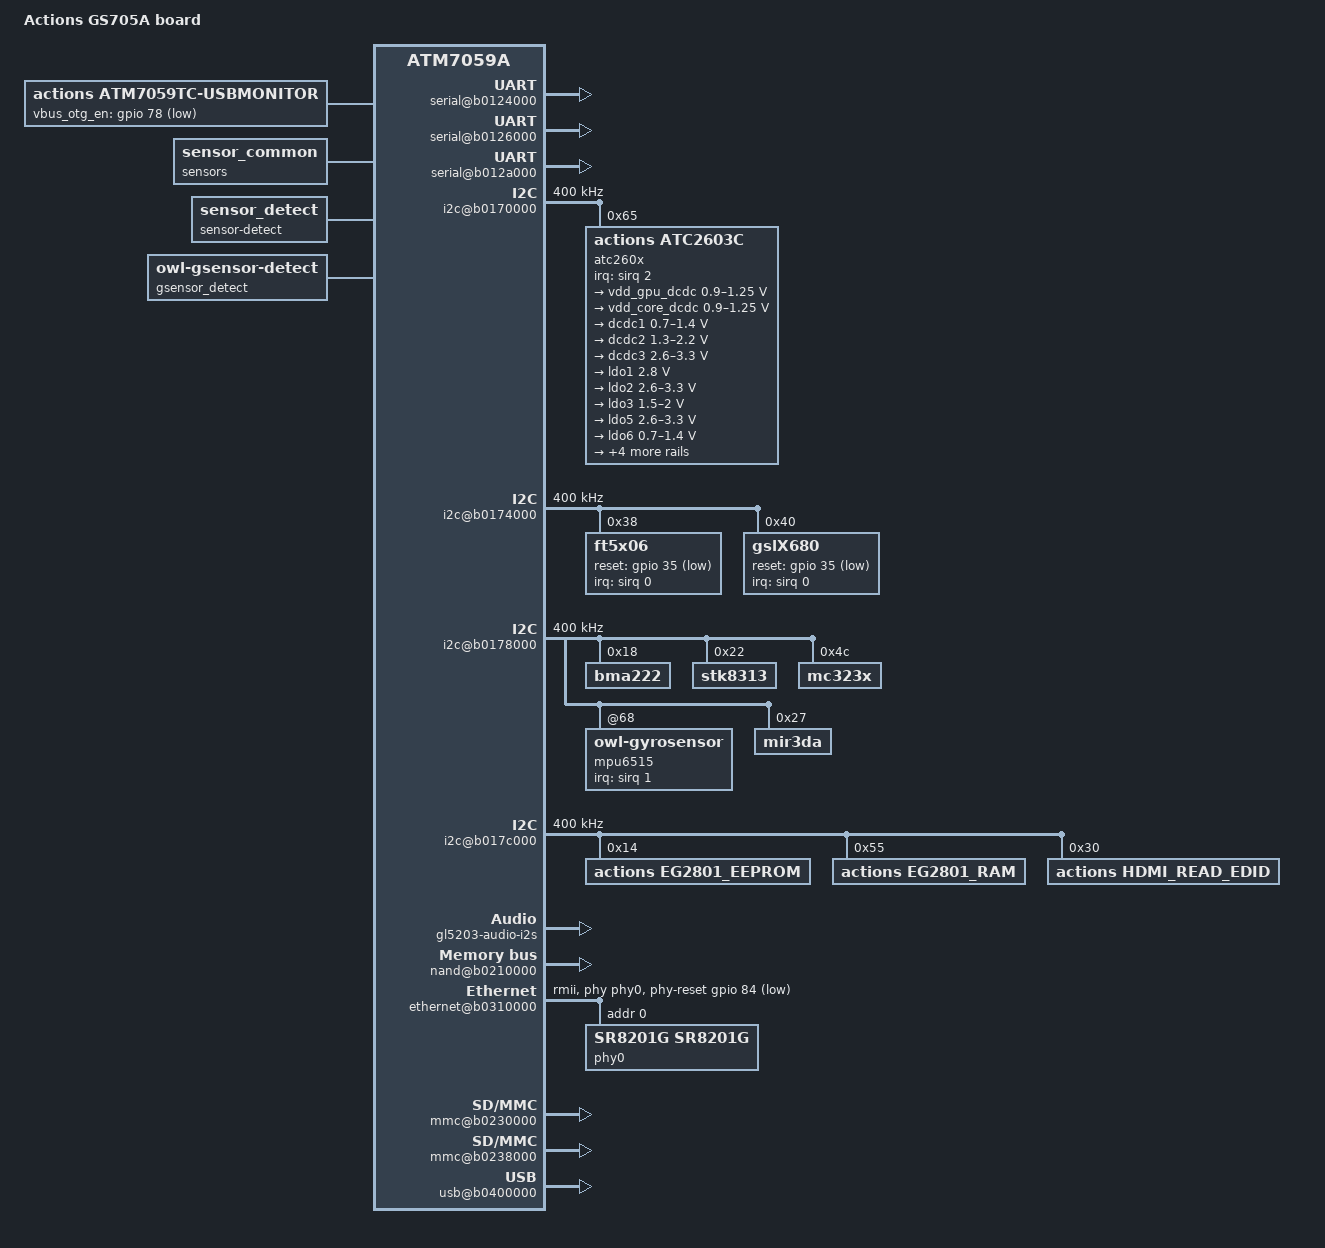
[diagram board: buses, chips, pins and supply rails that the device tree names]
/dts-v1/;

/include/ "actduino.dtsi"

/ {
	model = "Actions GS705A board";
	compatible = "actions,gs705a", "actions,atm7059a";

	/*default*/
	chosen {
		bootargs = "earlyprintk clk_ignore_unused selinux=0";
	};

	cpus {
		CPU0: cpu@0 {
			transition-latency = <61036>; /* two CLK32 periods */

			cpuvdd-supply = <&dcdc1>;
		};
	};

	reserved {
		tiny {
			fb_heap_size = <4>;
			kinfo_heap_size = <1>;
			carveout_heap_size = <40>;
			dma_heap_size = <128>;
		};
		normal {
			fb_heap_size = <8>;
			kinfo_heap_size = <1>;
			carveout_heap_size = <244>;
			dma_heap_size = <128>;
		};
	};
	dual_logo {
		value=<0x0>; /*dual_logo support,=0 disable, >0 enable; */
	};
    
	pinctrl@b01b0040 {
		pinctrl-names = "default";
		pinctrl-0 = <&state_default>;

		state_default: pinctrl_default {
		};

		serial0_state_default: serial0_default{
			serial_0{
				actions,groups = "mfp2_2_0","mfp3_21_19";
				actions,function = "uart0";
			};
		};

		serial1_state_default: serial1_default{
			serial_1{
				actions,groups = "mfp2_13_11";
				actions,function = "uart1";
			};
		};

		serial2_state_default: serial2_default{
			serial_2{
				actions,groups = "mfp2_23","mfp2_22","uart2_dummy";
				actions,function = "uart2";
			};
		};

		serial3_state_default: serial3_default{
			serial_3{
				actions,groups = "mfp2_21","mfp2_20","uart3_dummy";
				actions,function = "uart3";
			};
		};

		serial4_state_default: serial4_default{
			serial_4{
				actions,groups = "uart4_dummy";
				actions,function = "uart4";
			};
		};

		serial5_state_default: serial5_default{
			serial_5{
				actions,groups = "mfp2_19_17","mfp2_16_14";
				actions,function = "uart5";
			};
		};

		serial6_state_default: serial6_default{
			serial_6{
				actions,groups = "mfp0_18_16_eth_txd0", "mfp0_18_16_eth_txd1";
				actions,function = "uart6";
			};
		};

		nand_state_default: nand_default {
			nand_mfp {
				/*DNAND, D0-D7&RDB&RDBN:mfp3_3, ALE&CLE&CEB0&CEB1:mfp3_2, CEB2:mfp3_1_0_nand_ceb2, CEB3:mfp3_1_0_nand_ceb3*/
				actions,groups = "nand_dummy", "mfp3_3", "mfp3_2", "mfp3_1_0_nand_ceb2", "mfp3_1_0_nand_ceb3";
				actions,function = "nand";
			};

			nand_rdbn_ce0_ce2_pullup_disable {
				actions,pins = "P_DNAND_RDBN";
				actions,pull = <0>;	//disabled
			};

			nand_dqsn_pullup {
				actions,pins = "P_DNAND_DQSN";
				actions,pull = <2>;	//pull up
			};
			
			nand_dqs_pulldown {
				actions,pins = "P_DNAND_DQS";
				actions,pull = <1>;	//pull down
			};
			nand_d0_d3_pulldown {
				actions,pins = "P_DNAND_D0","P_DNAND_D1","P_DNAND_D2","P_DNAND_D3","P_DNAND_D4","P_DNAND_D5","P_DNAND_D6","P_DNAND_D7";
				actions,pull = <0>;	//disabled
			};
		};

		ethernet_state_default: ethernet_default {
			ethernet_smi { /* pins: MDC & MDIO */
				actions,groups = "eth_smi_dummy";
				actions,function = "eth_rmii";
			};

			ethernet_rmii_txd01 {
				actions,groups = "mfp0_18_16_eth_txd0", "mfp0_18_16_eth_txd1";
				actions,function = "eth_rmii";
			};

			ethernet_rmii_txen_rxer {
				actions,groups = "mfp0_15_13_rmii_txen", "mfp0_15_13_rmii_rxen";
				actions,function = "eth_rmii";
			};

			ethernet_rmii_crs_dv {
				actions,groups = "mfp0_22_20";
				actions,function = "eth_rmii";
			};

			ethernet_rmii_rxd10 {
				actions,groups = "mfp0_10_8_rmii_rxd1", "mfp0_10_8_rmii_rxd0";
				actions,function = "eth_rmii";
			};

			ethernet_rmii_ref_clk {
				actions,groups = "mfp0_7_6";
				actions,function = "eth_rmii";
			};
		};

		mmc_share_uart_state: mmc_share_uart {
			sd0_mfp_cmd_clk {
				actions,groups = "mfp2_8_7", "mfp2_6_5";
				actions,function = "sd0";
			};

			sd0_pull_d0_d3_cmd {
				actions,pins = "P_SD0_CMD";
				actions,pull = <2>;
			};	
			
			sd0_pull_clk {
				actions,pins = "P_SD0_CLK";
				actions,pull = <0>;
			};
			
			sd0_d0_d3_cmd_clk_paddrv  {
				actions,groups  = "paddrv1_19_18","paddrv1_17_16";
				actions,paddrv  = <1>; /*level 1，范围0~3*/ 			
			};
			
			// 如果以后使用uart2请修改这个地方到uart2配置，现在默认是uart5
			serial_5 {
				actions,groups = "mfp2_19_17","mfp2_16_14";
				actions,function = "uart5";   
			};
		};
		
		mmc0_state_default: mmc0_default {
			sd0_mfp_d0_d3_cmd_clk {
				actions,groups = "mfp2_19_17", "mfp2_16_14", "mfp2_13_11", "mfp2_8_7", "mfp2_6_5";
				actions,function = "sd0";
			};

			sd0_pull_d0_d3_cmd {
				actions,pins = "P_SD0_D0", "P_SD0_D1", "P_SD0_D2", "P_SD0_D3", "P_SD0_CMD";
				actions,pull = <2>;
			};

			sd0_pull_clk {
				actions,pins = "P_SD0_CLK";
				actions,pull = <0>;
			};
			
			sd0_d0_d3_cmd_clk_paddrv  {
				actions,groups  = "paddrv1_23_22","paddrv1_19_18","paddrv1_17_16";
				actions,paddrv  = <3>; /*level 1，范围0~3*/ 			
			};
		};

		mmc1_state_default: mmc1_default {
			sd1_mfp_d0_d3_cmd_clk {
				actions,groups = "mfp2_10_9", "mfp2_4_3", "sd1_dummy";
				actions,function = "sd1";
			};

			sd1_pull_d0_d3_cmd {
				actions,pins = "P_SD1_D0", "P_SD1_D1", "P_SD1_D2", "P_SD1_D3", "P_SD1_CMD";
				actions,pull = <2>;
			};
			sd1_d0_d3_cmd_clk_paddrv  {
				actions,groups  = "paddrv1_21_20","paddrv1_15_14","paddrv1_13_12";
				actions,paddrv  = <2>; /*level 1，范围0~2*/ 			
			};
		};
	
		mmc2_state_default: mmc2_default {
			sd2_mfp_d0_d3_cmd_clk {
				actions,groups = "mfp3_3";
				actions,function = "sd2";
			};

			sd2_pull_d0_d3_cmd {
				actions,pins = "P_DNAND_D0","P_DNAND_D1","P_DNAND_D2","P_DNAND_D3","P_DNAND_D4","P_DNAND_D5","P_DNAND_D6","P_DNAND_D7","P_DNAND_RDBN";
				actions,pull = <2>;
			};

		};

		/* the format of isp state name: channel + pin + bus type(pin function) */
		/* channel: isp0/isp1, pin: csi/bt/sens1, bus type: dvp/mipi */
		isp0_state_csi_dvp: isp0_csi_dvp {
			isp0_csi_dvp_mfp {
				actions,groups = "mfp3_29_28", "mfp3_23_22", "mfp3_15_14", "mfp3_13_12";
				actions,function = "sens0";
			};
			sens0_clk_out_pdrv{
				 actions,groups = "paddrv2_13_12";
				 actions,paddrv = <0>;/*level 1 ,range :0~2*/
			};
		};

		isp0_state_csi_mipi: isp0_csi_mipi {
			isp0_csi_mipi_mfp {
				actions,groups = "mfp3_29_28", "mfp3_15_14";
				actions,function = "mipi_csi";
			};
			isp0_csi_mipi_clkout_mfp {
				actions,groups = "mfp3_23_22";
				actions,function = "sens0";
			};
		};

		i2c0_state_default: i2c0_default {/* i2c0 use default pin	*/
			i2c0_default_mfp {
				actions,groups = "mfp3_18_16";
				actions,function = "i2c0";
			};

			i2c0_default_paddrv {
				actions,groups = "paddrv2_24_23";
				actions,paddrv = <0>;/*level 1*/
			};

			i2c0_default_pull_up {
				actions,pins = "P_I2C0_SCLK","P_I2C0_SDATA";
				actions,pull = <2>; /*pull up*/
			};
		};

		i2c0_state_over_uart0: i2c0_over_uart0 {/* i2c0 use uart0 pin	*/
			i2c0_over_uart0_mfp {
				actions,groups = "mfp2_2_0", "mfp3_21_19";
				actions,function = "i2c0";
			};

			i2c0_over_uart0_paddrv {
				actions,groups = "paddrv2_31_30","paddrv2_29_28";
				actions,paddrv = <0>;/*level 1*/
			};

			i2c0_over_uart0_pull_up {
				actions,pins = "P_UART0_RX","P_UART0_TX";
				actions,pull = <2>; /*pull up*/
			};
		};	

		i2c1_state_default: i2c1_default {/* i2c1 use default pin	*/
			i2c1_default_mfp {
				actions,groups = "i2c1_dummy";
				actions,function = "i2c1";
			};

			i2c1_default_paddrv {
				actions,groups = "paddrv2_22_21";
				actions,paddrv = <0>;/*level 1*/
			};

			i2c1_default_pull_up {
				actions,pins = "P_I2C1_SCLK","P_I2C1_SDATA";
				actions,pull = <0>;	/*stay disabled*/
			};
		};

		i2c2_state_default: i2c2_default {/* i2c2 use default pin*/
			i2c2_default_mfp {
				actions,groups = "i2c2_dummy";
				actions,function = "i2c2";
			};

			i2c2_default_paddrv {
				actions,groups = "paddrv2_22_21";
				actions,paddrv = <0>;/*level 1*/
			};

			i2c2_default_pull_up {
				actions,pins = "P_I2C2_SCLK","P_I2C2_SDATA";
				actions,pull = <2>; /*pull up*/
			};
		};
		
		i2c3_state_over_spi0: i2c3_over_spi0 {/* i2c3 use spi0 pin	*/
			i2c3_over_spi0_mfp {
				actions,groups = "mfp1_4_3";
				actions,function = "i2c3";
			};

			i2c3_over_spi0_paddrv {
				actions,groups = "paddrv1_11_10";
				actions,paddrv = <0>;/*level 1*/
			};

			i2c3_over_spi0_pull_up {
				actions,pins = "P_SPI0_SCLK","P_SPI0_MOSI";
				actions,pull = <2>; /*pull up*/
			};
		};				

		pwm0_state_default: pwm0_default {
			pwm0_mfp {
				actions,groups = "mfp1_31_29_ks_in2";
				actions,function = "pwm0";
			};
		};

		pwm1_state_default: pwm1_default {
			pwm1_mfp {
				actions,groups = "mfp1_28_26_ks_in3";
				actions,function = "pwm1";
			};
		};
		pwm2_state_default: pwm2_default {
			pwm2_mfp {
				actions,groups = "mfp1_25_23";
				actions,function = "pwm2";
			};
		};
		pwm3_state_default: pwm3_default {
			pwm3_mfp {
				actions,groups = "mfp1_28_26_ks_out1";
				actions,function = "pwm3";
			};
		};
		lvds_state_default: lvds_default {
			lvds_mux {
				actions,groups = "mfp1_22_21", "mfp1_6_5", "mfp2_28_27";
				actions,function = "lvds";
			};
		};
		i2s0_state_default: i2s0_default {
			i2s0_default_mfp {
				actions,groups = "mfp0_2_1_i2s0", "mfp0_4_3", "mfp0_5";
				actions,function = "i2s0";
			};
		};
		rgb_state_default: rgb_default {
			rgb_mux {
				actions,groups = "mfp0_25_23","mfp1_16_14", "mfp1_22_21", "mfp1_13_12", "mfp1_11_10", "mfp1_6_5", "mfp2_30_29", "mfp2_28_27";
				actions,function = "lcd0";
			};
		};
		
		dsi_state_default: dsi_default {
			dsi_mux {
				actions,groups = "mfp1_20_19", "mfp1_18_17", "mfp1_13_12", "mfp1_11_10", "mfp1_9_7", "mfp2_30_29";
				actions,function = "dsi";
			};
		};
	};

	serial@b0120000 {
		clock-frequency = <48000000>;
		pinctrl-names = "default";
		pinctrl-0 = <&serial0_state_default>;
//		actions,enable-dma-rx;
		status = "disabled";
	};

	serial@b0122000 {
		clock-frequency = <48000000>;
		pinctrl-names = "default";
		pinctrl-0 = <&serial1_state_default>;
//		actions,enable-dma-rx;
		status = "disabled";
	};

	serial@b0124000 {
		clock-frequency = <48000000>;
		pinctrl-names = "default";
		pinctrl-0 = <&serial2_state_default>;
//		actions,enable-dma-rx;
		status = "okay";
	};

	/*for BT*/
	serial@b0126000 {
		clock-frequency = <48000000>;
		pinctrl-names = "default";
		pinctrl-0 = <&serial3_state_default>;
		actions,enable-dma-rx;
		status = "okay";
	};

	serial@b0128000 {
		clock-frequency = <48000000>;
		pinctrl-names = "default";
		pinctrl-0 = <&serial4_state_default>;
//		actions,enable-dma-rx;
		status = "disabled";
	};

	serial@b012a000 {
		clock-frequency = <48000000>;
		pinctrl-names = "default";
		pinctrl-0 = <&serial5_state_default>;
//		actions,enable-dma-rx;
		status = "okay";
		sdio_uart_supported;
	};

	serial@b012c000 {
		clock-frequency = <48000000>;
		pinctrl-names = "default";
		pinctrl-0 = <&serial6_state_default>;
//		actions,enable-dma-rx;
		status = "disabled";
	};

	i2c@b0170000 {
		i2c_num = <0>;
		clock-frequency = <400000>;
		status = "okay";
		pinctrl-names = "default";
		pinctrl-0 = <&i2c0_state_default>;
		#address-cells = <1>;
		#size-cells = <0>;	
		
		/* atc2603c (5307) */
		atc260x: atc2603c@65 {
			compatible = "actions,atc2603c";
			reg = <0x65>;
			interrupt-parent = <&sirq>;
			interrupts =< 2 0x4 >;
			interrupt-controller;
			#interrupt-cells = <1>;

			losc_32k_output_enable = <1>;    /* enable/disable output 32.768K clock via I2S_MCLK1 pin */
			losc_32k_output_voltage = <18>;  /* select voltage scale of the 32.768K clock output, 18:1.8v, 31:3.1v */

			pm {
				compatible = "actions,atc2603c-pm";
			};

			onoff {
				compatible = "actions,atc2603c-onoff";
			};

			rtc{
				compatible = "actions,atc2603c-rtc";
			};

			atc260x_gpio: atc260x_gpio {
				compatible = "actions,atc2603c-gpio";
				gpio-controller;
				#gpio-cells = <2>;
			};

			atc260x_sgpio: atc260x_sgpio {
				compatible = "actions,atc2603c-sgpio";
				gpio-controller;
				#gpio-cells = <2>;
				interrupt-controller;
				#interrupt-cells = <2>;
			};

			atc260x-adckeypad{
#define KEY_HOME				172
#define KEY_MENU				139
#define KEY_BACK				158
#define KEY_VOLUMEDOWN				114
#define KEY_VOLUMEUP				115
				keymapsize = <5>;                   /* number of ADC key */
				filter_dep = <3>;                   /* depth of the moving average filter (length of filter queue) */
				variance = <10>;                    /* filter will not output until the difference between every two ADC samples in the filter queue goes below this value */
				poll_interval =  <10>;              /* sample period, in ms */
				left_adc_val =  <0 90 175 270 400>;     /* for key code translator, each value defines a lower bound of ADC value of a key */
				right_adc_val = <30 120 220 320 450>;   /* for key code translator, each value defines a upper bound of ADC value of a key */
				key_val = <KEY_HOME KEY_MENU KEY_VOLUMEUP KEY_VOLUMEDOWN KEY_BACK>; /* for key code translator, each value defines the key_code of a key */
				adc_channel_name = "AUX0";          /* the ADC channel used for sampling, valid names are REMCON AUX0 AUX1 AUX2 (AUX3) */
				compatible = "actions,atc2603c-adckeypad";
				status = "okay";                /* enable/disable ADC key function (okay or disabled) */
			};
			atc260x-irkeypad{
				size = <28>;
				user_code = <16448>;
				protocol = <1>;
				wk_code= <77>;
				period = <140>;
				ir_code = <77 67 21 28 11 14 16 17 13 26 69 66 12 1 2 3 4 5 6 7 8 9 0 68 83 18 30 31>;
				key_code = <116 113 115 114 103 108 105 106 353 172 139 158 14 2 3 4 5 6 7 8 9 10 11 175 139 52 165 163>;
				compatible = "actions,atc2603c-irkeypad";
			};

			/*the cfg params must be read	in the first installed ko,
			 now snd-soc-atv5302.ko is first installed.
			 1, earphone_detect_level use the third value of earphone_gpios
			 2, commonly, we shouldn't change the value of speaker_gain and earphone_gain*/
			
			atc260x-audio{
				compatible = "actions,atc2603c-audio";
				status = "okay";
                                pinctrl-names = "default";
                                pinctrl-0 = <&i2s0_state_default>;				
				//earphone_detect_gpios = <&gpio 21 0>; /*0: high, 1: low hr280ac GPIOA21 0*/
				speaker_en_gpios = <&gpio 126 0>; /*hr280ac GPIOD(30) 0: high, 1: low*/
				earphone_output_mode = <0>; /*0: direct mode, 1: undirect mode*/
				mic_num = <1>; /*just suport 1, 2*/
				mic0_gain = < 0x7 0x7 >; /*<Lchannel,Rchannel> [0x0~0xF]*/
				speaker_gain = < 0xaa 0xaa >; /*<Lchannel,Rchannel>[0x00~0xbebe]*/
				earphone_gain = < 0xbe 0xbe >; /*<Lchannel,Rchannel>[0x00~0xbebe]*/
				mic_mode = <2>; /* 1: differential,  2: single end*/
				earphone_detect_method = <2>; /*0:gpio, 1:irq, 2:adc*/				
				adc_plugin_threshold = <900>; /*adc earphone detect plugin threshold value*/		
				adc_level = <1>; /*adc plugin level, 1:high vol when plugin; 0:low vol when plug in*/
			};

			atc260x-hwmon{
				compatible = "actions,atc2603c-hwmon";
			};

			atc260x-power{
				compatible = "actions,atc2603c-power";
				bl_on_usb_pc_max_charge_current = < 200 >;        /*mA,plug usb-pc,backlight is on*/
				bl_off_usb_pc_max_charge_current = < 500 >;       /*mA,plug usb-pc,backlight is off*/
				bl_on_usb_adp_max_charge_current = <400>;         /*mA,plug usb-adapter,backlight is on */
				bl_off_usb_adp_max_charge_current = <800>;        /*mA,plug usb-adapter,backlight is off */
				bl_on_wall_adp_max_charge_current = <400>;        /*mA,plug DCIN adapter,backlight is on*/
				bl_off_wall_adp_max_charge_current = < 1400 >;    /*mA,plug DCIN adapter,backlight is off*/
				bl_on_voltage_diff  = <350>;                      /*mV,different voltage between SYSPOWR and battery,backlight is on*/
				bl_off_voltage_diff = <400>;                      /*mV,different voltage between SYSPOWR and battery,backlight is off*/
				support_adaptor_type = <3>;                       /*1: DCIN  2: USB  3:DCIN+USB*/
				boot_cap_threshold = <3>;                         /*3%,the lowest capacity permitted to boot*/ 
				ext_dcdc_exist = <0>;                             /*1:exist external dcdc  0:do not exist external dcdc*/
				pwms = <&pwm 3 2666 1>;                           /* 3--pwm3   2666ns--1/(24M/64)*1000000000-1   1- -active low*/
				pwm-names = "ext_dcdc_pwm_ctl";                   /* pwm name */
				ext_charger_exist = <0>;                          /* 1:exist external charger  0:do not exist external charger*/
				charger_led_exist = <0>;                          /* 1:exist charger led 0:do not exist charger led */
			};

			atc260x-cap-gauge{
				compatible = "actions,atc2603c-cap-gauge";
				capacity = < 2500 >;                              /*mAh, the full capacity of battery used*/
				icm_available= < 1 >;							  /* 1:available 0:not available */ 
				icm_ohm_val = < 20 >;                             /*mohm,just 20 or 10,for ICM detecting current*/
				taper_voltage = < 4200 >;                         /*mV,the one close to the full capacity*/
				taper_current = <300>; 
				min_over_chg_protect_voltage = < 4275 >;				/*mA,the one close to the full capacity*/
				terminal_voltage = <3450>;                        /*mV,the lowest voltage of battery permitted*/
				suspend_current = < 7730 >;                       /* uA,the current of suspend*/
				shutdown_current = < 50 >;                        /* uA,the current of shutdown*/
				print_switch = <0>;                               /*0:open the switch of printing information 1:the opposite*/
				log_switch = <0>;                                 /*0:open the switch of recording charging log 1:the opposite*/
				
				ocv_soc_00 = <3477 3534 3591 3624 3637 3649 3661 3667 3673 3677>;    	 /* capacity:from 1% to 10%*/
				ocv_soc_10 = <3682 3685 3690 3693 3700 3706 3712 3716 3722 3728 >;	 /* capacity:from 11% to 20%*/
				ocv_soc_20 = <3732 3736 3739 3744 3747 3751 3755 3758 3761 3765>;	 /* capacity:from 21% to 30%*/
				ocv_soc_30 = <3768 3771 3775 3777 3782 3784 3788 3791 3793 3794 >;	 /* capacity:from 31% to 40%*/
				ocv_soc_40 = <3800 3801 3804 3807 3812 3815 3819 3823 3825 3830>;	 /* capacity:from 41% to 50%*/
				ocv_soc_50 = <3834 3838 3841 3845 3850 3854 3858 3864 3870 3874>;	 /* capacity:from 51% to 60%*/
				ocv_soc_60 = <3880 3889 3895 3902 3908 3916 3926 3933 3940 3947>;	 /* capacity:from 61% to 70%*/
				ocv_soc_70 = <3954 3961 3968 3972 3979 3985 3992 3997 4005 4012>;	 /* capacity:from 71% to 80%*/
				ocv_soc_80 = <4019 4028 4036 4046 4054 4061 4068 4075 4084 4090>;	 /* capacity:from 81% to 90%*/
				ocv_soc_90 = <4099 4107 4115 4126 4132 4141 4152 4160 4170 4180>;	 /* capacity:from 91% to 100%*/
				
			};

			atc260x-backup{
				compatible = "actions,atc2603c-backup";
				status = "disabled";
			};
 
			vdd_gpu_dcdc: vdd-gpu-dcdc {
				compatible = "actions,atc2603c-ext-pwm-dcdc1","actions,atc2603c-ext-pwm-dcdc";
				regulator-name = "vdd-gpu-dcdc";
				regulator-min-microvolt  = <900000>;
				regulator-max-microvolt = <1250000>;
				regulator-always-on;
				pwms = <&pwm 1 2666 0>;	// 1-pwm1   2666-1/(24M/64)*1000000-1   0 -active high
				table_len = < 15 >;			//length of vdd_cpu_table & pwm_config_table
				vdd_cpu_table = <900000 925000 950000 975000 1000000 1025000 1050000 1075000 1100000 1125000 1150000 1175000 1200000 1225000 1250000>;	//uV
				pwm_config_table = <19 18 17 16 15 14 13 12 11 10 9 8 7 6 5>;	//the pwm period of 1.1v 1.2v 1.3v
			};
 
			vdd_core_dcdc: vdd-core-dcdc {
				compatible = "actions,atc2603c-ext-pwm-dcdc2","actions,atc2603c-ext-pwm-dcdc";
				regulator-name = "vdd-core-dcdc";
				regulator-min-microvolt  = <900000>;
				regulator-max-microvolt = <1250000>;
				regulator-always-on;
				pwms = <&pwm 2 2666 0>;	// 1-pwm1   2666-1/(24M/64)*1000000-1   0 -active high
				table_len = < 15 >;			//length of vdd_cpu_table & pwm_config_table
				vdd_cpu_table = <900000 925000 950000 975000 1000000 1025000 1050000 1075000 1100000 1125000 1150000 1175000 1200000 1225000 1250001>;	//uV
				pwm_config_table = <19 18 17 16 15 14 13 12 11 10 9 8 7 6 5>;	//the pwm period of 1.1v 1.2v 1.3v
			};
 
			dcdc1: dcdc1 {
				compatible = "actions,atc2603c-dcdc1","actions,atc2603c-dcdc";
				regulator-name = "dcdc1";
				regulator-min-microvolt = <700000>;
				regulator-max-microvolt = <1400000>;
				regulator-always-on;
			};

			dcdc2: dcdc2 {
				compatible = "actions,atc2603c-dcdc2","actions,atc2603c-dcdc";
				regulator-name = "dcdc2";
				regulator-min-microvolt = <1300000>;
				regulator-max-microvolt = <2200000>;
				regulator-always-on;
			};

			dcdc3: dcdc3 {
				compatible = "actions,atc2603c-dcdc3","actions,atc2603c-dcdc";
				regulator-name = "dcdc3";
				regulator-min-microvolt = <2600000>;
				regulator-max-microvolt = <3300000>;
				regulator-always-on;
			};

			dcdc4: dcdc4 {
				status = "disabled";
			};

			dcdc5: dcdc5 {
				status = "disabled";
			};

			ldo1: ldo1{
				compatible = "actions,atc2603c-ldo1","actions,atc2603c-ldo";
				regulator-name = "ldo1";
				regulator-min-microvolt  = <2800000>;
				regulator-max-microvolt = <2800000>;
				regulator-always-on;
			};

			ldo2: ldo2{
				compatible = "actions,atc2603c-ldo2","actions,atc2603c-ldo";
				regulator-name = "ldo2";
				regulator-min-microvolt  = <2600000>;
				regulator-max-microvolt = <3300000>;
				regulator-always-on;
			};

			ldo3: ldo3{
				compatible = "actions,atc2603c-ldo3","actions,atc2603c-ldo";
				regulator-name = "ldo3";
				regulator-min-microvolt  = <1500000>;
				regulator-max-microvolt = <2000000>;
				regulator-always-on;
			};

			ldo4: ldo4{
				status = "disabled";
			};

			ldo5: ldo5{
				compatible = "actions,atc2603c-ldo5","actions,atc2603c-ldo";
				regulator-name = "ldo5";
				regulator-min-microvolt  = <2600000>;
				regulator-max-microvolt = <3300000>;
			};

			ldo6: ldo6{
				compatible = "actions,atc2603c-ldo6","actions,atc2603c-ldo";
				regulator-name = "ldo6";
				regulator-min-microvolt  = <700000>;
				regulator-max-microvolt = <1400000>;
				regulator-always-on;
			};

			ldo7: ldo7{
				compatible = "actions,atc2603c-ldo7","actions,atc2603c-ldo";
				regulator-name = "ldo7";
				regulator-min-microvolt  = <1800000>;
				regulator-max-microvolt = <1800000>;
				regulator-always-on;
				regulator-suspend-off;
			};

			ldo8: ldo8{
				compatible = "actions,atc2603c-ldo8","actions,atc2603c-ldo";
				regulator-name = "ldo8";
				regulator-min-microvolt  = <2300000>;
				regulator-max-microvolt = <3300000>;
			};

			ldo9: ldo9{
				status = "disabled";
			};

			ldo10: ldo10{
				status = "disabled";
			};

			ldo11: ldo11{
				compatible = "actions,atc2603c-ldo11","actions,atc2603c-ldo";
				regulator-name = "ldo11";
				regulator-min-microvolt  = <2600000>;
				regulator-max-microvolt = <3300000>;
				regulator-always-on;
			};

			switch1:switch1{
				compatible = "actions,atc2603c-switch1","actions,atc2603c-switch";
				regulator-name = "switch1";
				regulator-min-microvolt  = <3000000>;
				regulator-max-microvolt = <3300000>;
			};

			switch2:switch2{
				status = "disabled";
			};
		};
	};
	
	i2c@b0174000 {
		i2c_num = <1>;
		clock-frequency = <400000>;
		status = "okay";
		pinctrl-names = "default";
		pinctrl-0 = <&i2c1_state_default>;
			
		ft5x06@38 {
			compatible = "ft5x06";
			reg = <0x38>;
			tp_vcc = "ldo5";
			reset_gpios = <&gpio 35 1>; /*GPIOB(3) 0: high, 1: low*/
			max_points = <10>;
			x_pixel = <1280>;
			y_pixel = <800>;
			x_revert_en = <0>;
			y_revert_en = <0>;
			xy_swap_en = <0>;
			rotate_degree = <180>;  /* 0 90 180 270 */
    	interrupt-parent = <&sirq>;
    	interrupts =< 0 0x4 >; /*SIRQ0*/
			vol_range = <3100000 3110000>;
		};

		gslX680@40 {
			compatible = "gslX680";
			reg = <0x40>;
			tp_vcc = "ldo5";
			reset_gpios = <&gpio 35 1>;/*GPIOB(3) 0: high, 1: low*/
			x_pixel = <1024>;
			y_pixel = <600>;
			x_revert_en = <0>;
			y_revert_en = <0>;
			xy_swap_en = <0>;
			rotate_degree = <270>;  /* 0 90 180 270 */
    	interrupt-parent = <&sirq>;
    	interrupts =< 0 0x4 >; /*SIRQ0*/
			vol_range = <3100000 3110000>;
		};
	};

	i2c@b0178000 {
		i2c_num = <2>;
		clock-frequency = <400000>;
		status = "okay";
		pinctrl-names = "default";
		pinctrl-0 = <&i2c2_state_default>;

		bma222@18{
			compatible = "bma222";
			reg = <0x18>;
			position = "-2";
			calibration_table = <0 0 0>;
		};

		stk8313@22{		
			compatible = "stk8313";
			reg = <0x22>;
			position = "1";
			calibration_table = <0 0 0>;			
		};

		mc323x@4c{		
			compatible = "mc323x";
			reg = <0x4c>;
			position = "-3";
			calibration_table = <0 0 0>;			
		};

		mpu6515@68{
			compatible = "owl-gyrosensor";
			interrupt-parent = <&sirq>;
			interrupts =< 1 0x4 >; /*SIRQ1*/
			i2c_adapter_id = <2>;
			MASTER_inv6515_position = "-1";
			SECONDARY_ak8963c_position = "-2";
		};
		
		mir3da@27{
			compatible = "mir3da";
			reg = <0x27>;
			position = "-3";
			calibration_table = <0 0 0>;
		};
	};

	i2c@b017c000 {
		i2c_num = <3>;
		clock-frequency = <400000>;
		status = "okay";
		pinctrl-names = "default";
		pinctrl-0 = <&i2c3_state_over_spi0>;
		eg2801_eeprom@14 {
                	compatible ="actions,eg2801_eeprom";
			reg = <0x14>;
                };

                eg2801_ram@55 {
                	compatible ="actions,eg2801_ram";
                	reg = <0x55>;
                };
		
		hdmi_read_edid@30 {
			compatible = "actions,hdmi_read_edid";
			reg = <0x30>;
		};	
	};

	spi@b0200000 {
		status = "disabled";
	};

	spi@b0204000 {
		status = "disabled";
	};
	
	gl5203-audio-i2s{
		#address-cells = <1>;
		#size-cells = <1>; 
		compatible = "actions,owl-audio-i2s";
		reg = <0xb0100000 0x34>;
	};

	spi@b0208000 {
		status = "disabled";
	};

	spi@b020c000 {
		status = "disabled";
	};

	gpio@b01b0000 {
		status = "okay";
	};

	nand@b0210000 {
		clock-source = "NANDPLL";
		pinctrl-names = "default";
		pinctrl-0 = <&nand_state_default>;
		status = "okay";

		reset_protect {
			interrupt-parent = <&sirq>;
			interrupts =< 0 0x4 >; /*SIRQ0*/
			status = "disabled";
		};
	};

	ethernet@b0310000 {
		pinctrl-names = "default";
		pinctrl-0 = <&ethernet_state_default>;

		phy-mode = "rmii";
		phy-handle = <&phy0>;
		phy-power-gpios = <&gpio 85 0>; /* GPIOC21 active  1:low  0:high*/		
		phy-reset-gpios = <&gpio 84 0>; /* GPIOC20 active  1:low  0:high*/

		phy_addr = <1>;
		address-bits = <48>;
		//random-mac-address = "okay";		/*okay:     disable:*/
		//local-mac-address = [ 00 18 fe 66 66 66 ];   /* if random address is enable,the local address will be unuseful*/
		max-frame-size = <1518>;

		status = "okay";
		compatible = "actions,owl-ethernet";
		
		phy0: ethernet-phy@0 {
			compatible = "SR8201G,sr8201g";
			reg = <0>;
		};
	};

	mmc@b0230000 {
		pinctrl-names = "default","share_uart2_5";
		pinctrl-0 = <&mmc0_state_default>;
		pinctrl-1 = <&mmc_share_uart_state>;

		card_type = "memory";  /* only: "memory", "wifi", or "emmc" */
		card_detect_mode = "gpio";  /* only: "sirq", "gpio", or "command" */
		card_detect_gpios = <&gpio 117 0>; /*86v S500 GPIOD21 */  
		interrupts = < 0 42 0x4 >;

		status = "okay";

		sd_vcc = "switch1";
		sdio_uart_supported;
	};

	mmc@b0234000 {
		pinctrl-names = "default";
		pinctrl-0 = <&mmc1_state_default>;

		card_type = "wifi";  /* only: "memory", "wifi", or "emmc" */

//		status = "okay";
		status = "disabled";
	};

	mmc@b0238000 {
		pinctrl-names = "default";
		pinctrl-0 = <&mmc2_state_default>;
		card_type = "emmc";  /* only: "memory", "wifi", or "emmc" */
		status = "okay";
//		status = "disabled";
	};

	usb@b02b8000 {
		vbus-src = "gpio";  /* only: "gpio", "regulator", or "none" */

		//gpios = <&gpio 23 0>; /* GPIOA19, 0: high, 1: low only when vbus-src is "gpio" */ /*M3305 Not use*/

		vbus-regulator = "LDO1"; /* only when vbus-src is "regulator" */
		regulator-scope = <3300000 3500000>;  /* uV */

		status = "disabled"; /* don't create platform-device */
	};

	usb@b0400000 {
		usb_serialnumber_config = <1>; /* config serialnumber string format, 0: unified ascii; 1:unified unicode; 2:nounified unicode; 3: nounified ascii*/
		usb_hs_output_strength = <2>; /*defaut:2,range:0~7; 0:min,7:max;usb high speed(2.0)transmitter output strength*/
		status = "okay";
	};
  usb@b0600000 { 
     //vbus_otg_en_gpio = <&gpio 116 1>; /*GPIO D20*/ 
     port0_host_plug_detect = <2>;
   }; 
   usb@b0700000 { 
     vbus_otg_en_gpio =<&gpio 116 1>; /*GPIO D20*/ 
   };

	monitor {
		compatible = "actions,atm7059tc-usbmonitor";
		detect_type = <3>; /* config what to detect, 0:DISABLE ; 1:DEVICE_ONLY; 2:HOST_ONLY; 3: HOST_AND_DEVICE*/
		idpin_type   = <0>; /* 0:use ic's idpin;      1:soft idpin,##no support!##;       2:gpio idpin,use gpio to detect,need to add a "idpin_gpio" configuration */
		vbus_type   = <2>; /* 0:use ic's vbuspin; 1:gpio vbus,##no support!## ;      2:use dc5v to detect vbus level*/
		
		/*vbus_otg_en_gpio is use to turn on/off otg vbus,it's different from vbus detect gpio;*/  
		vbus_otg_en_gpios = <&gpio 78 1>;  /* GPIOC14,  0: low active; 1: high active */
		//idpin_gpio = <&gpio 63 1>;   /*if idpin detect by gpio,config the gpio to GPIOB31, input,0: low active; 1: high active*/
		status = "okay";
	};

	isp@b0270000 {
		avdd-src = "regulator";  /* only: "gpio", "regulator" */
		//avdd-gpios = <&gpio 14 0>; /* GPIOA14, 0: high, 1: low only when vbus-src is "gpio" */
		avdd-regulator = "ldo1"; /* only when vbus-src is "regulator" */
		avdd-regulator-scope = <2800000 2810000>;  /* uV */
		dvdd-regulator = "ldo7";
		dvdd-regulator-scope = <1800000 1810000>;  /* uV */

		sensors = "dual"; /* "dual", "front" or "rear" */		
		pwdn-rear-gpios = <&gpio 81 0>; /* GPIOC17 */
		pwdn-front-gpios = <&gpio 79 0>; /* GPIOC15 */
		reset-gpios = <&gpio 80 1>; /*:GPIOC16*/

		status = "okay"; /* create platform-device */
	};
	
	sensors: isp-sensor {
		compatible = "sensor_common";
		bus_type = "dvp";  /* dvp or mipi */
		data_type = "yuv";  /* yuv or raw */
		host = <&isp0>; /* only isp0 if there is one host, isp0 or isp1 if two hosts */
		i2c_adapter = <&i2c2>; /* 0-3 begin from enabled ones */
		channel = <0>; /* 0: use channel_0, 1: use channel_1 */

		pinctrl-names = "default";
		pinctrl-0 = <&isp0_state_csi_dvp>;

		status = "okay";
	};

	sensor-detect {
		compatible = "sensor_detect";
		status = "okay";
		hot_plugin_enable = <0>; /* 1-enable, 0-disable */
		sensor_detect_list {
			gc0308 = <1>;  /* 1-detect this sensor, 0-don't detect */
			gc0328 = <1>;
			gc0312 = <1>;
			gc2035 = <1>;
			gc2145 = <1>;
			gc2155 = <1>;
			bf3703 = <1>;
			bf3920 = <1>;					
			hi708 = <1>;
			hi257 = <1>;
			ov2686 = <1>;
			ov5640 = <1>;
			sp0718 = <1>;
			sp0a19 = <1>;
			sp2519 = <1>;
			soc5140 = <1>;
    	};
    };

	
	framebuffer {
		compatible = "actions,framebuffer";  
		def_display  = "hdmi";
		xres=<1280>;
		yres=<720>;
		bpp=<4>;		
	  
	};
		
	lcd0: lcd0@b02a0000 {
		status = "disabled";
	};

	dsi: dsi@b0220000 { 
		status = "disabled";
	};

	hdmi:hdmi@b02c0000{
		hdcp_onoff = <0>;
		channel_invert = <0>;
		bit_invert = <0>;
		hotplugable = <0>;
		bootable = <1>; 
		bootrotate = <0>;   
		default_resolution = "1280x720p-60";
	};
	cvbs:cvbs@b02b0000{  
		default_mode = "PAL";
		status ="disabled";
	};
	pwm: pwm@b01b0050 {
		pwm0 {
			id = <0>;
			pinctrl-names = "default";
			pinctrl-0 = <&pwm0_state_default>;
		};
		pwm1 {
			id = <1>;
			pinctrl-names = "default";
			pinctrl-0 = <&pwm1_state_default>;
		};
		pwm2 {
			id = <2>;
			pinctrl-names = "default";
			pinctrl-0 = <&pwm2_state_default>;
		};
		pwm3 {
			id = <3>;
			pinctrl-names = "default";
			pinctrl-0 = <&pwm3_state_default>;
		};
	};

	backlight {
		/*1.pwm num; 2. period in ns; */
		/*3.plarity, 0: high active, 1: low active*/
		backlight_en_gpios = <&gpio 124 0>; /*S500 GPIOD28*/ 
		pwms = <&pwm 0 50000 1>;
		total_steps = <1024>;
		min_brightness = <250>;
		max_brightness = <1000>;
		dft_brightness = <600>;
		delay_bf_pwm  = <200>;
		delay_af_pwm  = <10>;	
	};
	
	
	vibrator {
		compatible = "actions,vibrator";
		status = "disabled";
	};
	
	wifi_bt_power_ctl {
		compatible = "wifi,bt,power,ctl";
		//bt_power_gpio = <&gpio 16 0>;/*GPIOA20, high active*/   /*BT_WAKE*/
		//wifi_bt_power_gpios = <&gpio 14 0>; /* 86v GPIOA14 */
		//bt_en_gpios = <&gpio 17 0>;/*GPIOA17, high active*/  /*M3305 A17 reset pin*/
		//wifi_en_gpios = <&gpio 18 0>; /*gpio_wl_reg_on = <&gpio 18 0>; */ /* 86v GPIOA18 */
	};

	gsensor_detect {
	  compatible = "owl-gsensor-detect";
		i2c_adapter_id = <2>;
	  gsensor_detect_list {
			compatible = "gsensor_detect_list";
      afa750 =  <0>;
      bma220 =  <0>;
      bma222 =  <1>;
      bma250 =  <0>;
      dmard10 = <0>;
      kxtj9 =   <0>;
      lis3dh =  <0>;
      mc3210 =  <0>;
      mc3230 =  <0>;
      mc3232 =  <1>;
      mc3236 =  <1>;
      mma7660 = <0>;
      mma8452 = <0>;
      stk8312 = <0>;
      stk8313 = <1>;
	  };
	};

	ctp_detect {
		compatible = "owl-ctp-detect";
		i2c_adapter_id = <1>;
		tp_vcc = "ldo5";
		//reset_gpios = <&gpio 35 1>;    /*GPIOB(3) 0: high, 1: low*/
		//interrupt-parent = <&sirq>;
		//interrupts =< 0 0x4 >; /*SIRQ0*/
		vol_range = <3100000 3110000>;

		ctp_detect_list {
			compatible = "ctp_detect_list";
			ICN83XX =  <0>;
			GSLX6X0 =  <1>;
			FT52-406 = <0>;
			FT5606 =   <0>;
			GT813 =    <0>;
			AW5206 =   <0>;
			AW5209 =   <0>;
			CT36X =    <0>;
			HL3X06 =   <0>;
			ILITEK =   <0>;
			ili2672 =  <0>;
			ft5x06 =   <0>;
			MT395 =    <0>;
			NT1100X =  <0>;
			SSD254X =  <0>;
	   };
	};
   
	gpu@b0300000 {
		gpuvdd-supply = <&vdd_gpu_dcdc>;
		normal_value = <2>;
		status = "okay";
	};
	
	vce@b0288000{
		corevdd-supply = <&vdd_core_dcdc>;
		status = "okay";
	};
	
	vde@b0280000{
		corevdd-supply = <&vdd_core_dcdc>;
		status = "okay";
	};
};
